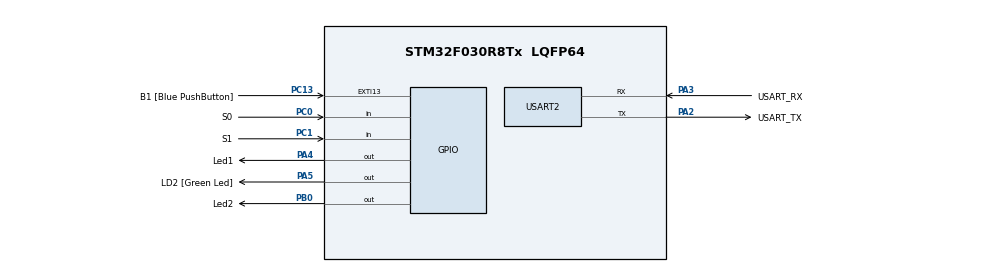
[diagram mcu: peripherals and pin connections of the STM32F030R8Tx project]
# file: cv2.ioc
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Mcu.Family=STM32F0
Mcu.Name=STM32F030R8Tx
Mcu.Package=LQFP64
PA13.GPIO_Label=TMS
PA13.Mode=Serial_Wire
PA13.Signal=SYS_SWDIO
PA14.GPIO_Label=TCK
PA14.Mode=Serial_Wire
PA14.Signal=SYS_SWCLK
PA2.GPIO_Label=USART_TX
PA2.GPIO_Mode=GPIO_MODE_AF_PP
PA2.GPIO_PuPd=GPIO_NOPULL
PA2.GPIO_Speed=GPIO_SPEED_FREQ_LOW
PA2.Mode=Asynchronous
PA2.Signal=USART2_TX
PA3.GPIO_Label=USART_RX
PA3.GPIO_Mode=GPIO_MODE_AF_PP
PA3.GPIO_PuPd=GPIO_NOPULL
PA3.GPIO_Speed=GPIO_SPEED_FREQ_LOW
PA3.Mode=Asynchronous
PA3.Signal=USART2_RX
PA4.GPIO_Label=Led1
PA4.Signal=GPIO_Output
PA5.GPIO_Label=LD2 [Green Led]
PA5.GPIO_Mode=GPIO_MODE_OUTPUT_PP
PA5.GPIO_PuPd=GPIO_NOPULL
PA5.GPIO_Speed=GPIO_SPEED_FREQ_LOW
PA5.Signal=GPIO_Output
PB0.GPIO_Label=Led2
PB0.Signal=GPIO_Output
PC0.GPIO_Label=S0
PC0.GPIO_PuPd=GPIO_PULLUP
PC0.Signal=GPIO_Input
PC1.GPIO_Label=S1
PC1.GPIO_PuPd=GPIO_PULLUP
PC1.Signal=GPIO_Input
PC13.GPIO_Label=B1 [Blue PushButton]
PC13.GPIO_ModeDefaultEXTI=GPIO_MODE_IT_FALLING
PC13.Signal=GPXTI13
PC14-OSC32_IN.Mode=LSE-External-Oscillator
PC14-OSC32_IN.Signal=RCC_OSC32_IN
PC15-OSC32_OUT.Mode=LSE-External-Oscillator
PC15-OSC32_OUT.Signal=RCC_OSC32_OUT
PF0-OSC_IN.Mode=HSE-External-Clock-Source
PF0-OSC_IN.Signal=RCC_OSC_IN
PF1-OSC_OUT.Signal=RCC_OSC_OUT
ProjectManager.HeapSize=0x200
ProjectManager.StackSize=0x400
ProjectManager.TargetToolchain=STM32CubeIDE
RCC.AHBFreq_Value=48000000
RCC.APB1Freq_Value=48000000
RCC.APB1TimFreq_Value=48000000
RCC.HCLKFreq_Value=48000000
RCC.PLLMUL=RCC_PLL_MUL12
RCC.SYSCLKFreq_VALUE=48000000
RCC.SYSCLKSource=RCC_SYSCLKSOURCE_PLLCLK
USART2.VirtualMode-Asynchronous=VM_ASYNC
board=NUCLEO-F030R8

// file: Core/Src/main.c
/* USER CODE BEGIN Header */
/**
  ******************************************************************************
  * @file           : main.c
  * @brief          : Main program body
  ******************************************************************************
  * @attention
  *
  * Copyright (c) 2023 STMicroelectronics.
  * All rights reserved.
  *
  * This software is licensed under terms that can be found in the LICENSE file
  * in the root directory of this software component.
  * If no LICENSE file comes with this software, it is provided AS-IS.
  *
  ******************************************************************************
  */
/* USER CODE END Header */
#include "main.h"

/* USER CODE BEGIN PTD */
void blikac(void);
void tlacitka(void);
/* USER CODE END PTD */

/* USER CODE BEGIN PD */
#define LED_TIME_BLINK 300
#define LED_TIME_SHORT 100
#define LED_TIME_LONG 1000
#define SW_READ 40
#define SW_READ2 5

/* USER CODE END PD */

void SystemClock_Config(void);
static void MX_GPIO_Init(void);
static void MX_USART2_UART_Init(void);

/* USER CODE BEGIN 0 */
volatile uint32_t Tick;
/* USER CODE END 0 */

int main(void)
{

  /* MCU Configuration--------------------------------------------------------*/

  /* Reset of all peripherals, Initializes the Flash interface and the Systick. */
  LL_APB1_GRP2_EnableClock(LL_APB1_GRP2_PERIPH_SYSCFG);
  LL_APB1_GRP1_EnableClock(LL_APB1_GRP1_PERIPH_PWR);

  /* Configure the system clock */
  SystemClock_Config();

  /* Initialize all configured peripherals */
  MX_GPIO_Init();
  MX_USART2_UART_Init();
  /* USER CODE BEGIN 2 */
  LL_SYSTICK_EnableIT();
  /* USER CODE END 2 */

  /* Infinite loop */
  /* USER CODE BEGIN WHILE */
  while (1)
  {
	  blikac();
	  tlacitka();
    /* USER CODE END WHILE */

  }
}

void SystemClock_Config(void)
{
  LL_FLASH_SetLatency(LL_FLASH_LATENCY_1);
  while(LL_FLASH_GetLatency() != LL_FLASH_LATENCY_1)
  {
  }
  LL_RCC_HSI_Enable();

   /* Wait till HSI is ready */
  while(LL_RCC_HSI_IsReady() != 1)
  {

  }
  LL_RCC_HSI_SetCalibTrimming(16);
  LL_RCC_PLL_ConfigDomain_SYS(LL_RCC_PLLSOURCE_HSI_DIV_2, LL_RCC_PLL_MUL_12);
  LL_RCC_PLL_Enable();

   /* Wait till PLL is ready */
  while(LL_RCC_PLL_IsReady() != 1)
  {

  }
  LL_RCC_SetAHBPrescaler(LL_RCC_SYSCLK_DIV_1);
  LL_RCC_SetAPB1Prescaler(LL_RCC_APB1_DIV_1);
  LL_RCC_SetSysClkSource(LL_RCC_SYS_CLKSOURCE_PLL);

   /* Wait till System clock is ready */
  while(LL_RCC_GetSysClkSource() != LL_RCC_SYS_CLKSOURCE_STATUS_PLL)
  {

  }
  LL_Init1msTick(48000000);
  LL_SetSystemCoreClock(48000000);
}

static void MX_USART2_UART_Init(void)
{

  LL_USART_InitTypeDef USART_InitStruct = {0};

  LL_GPIO_InitTypeDef GPIO_InitStruct = {0};

  /* Peripheral clock enable */
  LL_APB1_GRP1_EnableClock(LL_APB1_GRP1_PERIPH_USART2);

  LL_AHB1_GRP1_EnableClock(LL_AHB1_GRP1_PERIPH_GPIOA);
  /**USART2 GPIO Configuration
  PA2   ------> USART2_TX
  PA3   ------> USART2_RX
  */
  GPIO_InitStruct.Pin = USART_TX_Pin;
  GPIO_InitStruct.Mode = LL_GPIO_MODE_ALTERNATE;
  GPIO_InitStruct.Speed = LL_GPIO_SPEED_FREQ_LOW;
  GPIO_InitStruct.OutputType = LL_GPIO_OUTPUT_PUSHPULL;
  GPIO_InitStruct.Pull = LL_GPIO_PULL_NO;
  GPIO_InitStruct.Alternate = LL_GPIO_AF_1;
  LL_GPIO_Init(USART_TX_GPIO_Port, &GPIO_InitStruct);

  GPIO_InitStruct.Pin = USART_RX_Pin;
  GPIO_InitStruct.Mode = LL_GPIO_MODE_ALTERNATE;
  GPIO_InitStruct.Speed = LL_GPIO_SPEED_FREQ_LOW;
  GPIO_InitStruct.OutputType = LL_GPIO_OUTPUT_PUSHPULL;
  GPIO_InitStruct.Pull = LL_GPIO_PULL_NO;
  GPIO_InitStruct.Alternate = LL_GPIO_AF_1;
  LL_GPIO_Init(USART_RX_GPIO_Port, &GPIO_InitStruct);

  USART_InitStruct.BaudRate = 38400;
  USART_InitStruct.DataWidth = LL_USART_DATAWIDTH_8B;
  USART_InitStruct.StopBits = LL_USART_STOPBITS_1;
  USART_InitStruct.Parity = LL_USART_PARITY_NONE;
  USART_InitStruct.TransferDirection = LL_USART_DIRECTION_TX_RX;
  USART_InitStruct.HardwareFlowControl = LL_USART_HWCONTROL_NONE;
  USART_InitStruct.OverSampling = LL_USART_OVERSAMPLING_16;
  LL_USART_Init(USART2, &USART_InitStruct);
  LL_USART_DisableIT_CTS(USART2);
  LL_USART_ConfigAsyncMode(USART2);
  LL_USART_Enable(USART2);

}

static void MX_GPIO_Init(void)
{
  LL_EXTI_InitTypeDef EXTI_InitStruct = {0};
  LL_GPIO_InitTypeDef GPIO_InitStruct = {0};

  /* GPIO Ports Clock Enable */
  LL_AHB1_GRP1_EnableClock(LL_AHB1_GRP1_PERIPH_GPIOC);
  LL_AHB1_GRP1_EnableClock(LL_AHB1_GRP1_PERIPH_GPIOF);
  LL_AHB1_GRP1_EnableClock(LL_AHB1_GRP1_PERIPH_GPIOA);
  LL_AHB1_GRP1_EnableClock(LL_AHB1_GRP1_PERIPH_GPIOB);

  /**/
  LL_GPIO_ResetOutputPin(Led1_GPIO_Port, Led1_Pin);

  /**/
  LL_GPIO_ResetOutputPin(LD2_GPIO_Port, LD2_Pin);

  /**/
  LL_GPIO_ResetOutputPin(Led2_GPIO_Port, Led2_Pin);

  /**/
  LL_SYSCFG_SetEXTISource(LL_SYSCFG_EXTI_PORTC, LL_SYSCFG_EXTI_LINE13);

  /**/
  LL_GPIO_SetPinPull(B1_GPIO_Port, B1_Pin, LL_GPIO_PULL_NO);

  /**/
  LL_GPIO_SetPinMode(B1_GPIO_Port, B1_Pin, LL_GPIO_MODE_INPUT);

  /**/
  EXTI_InitStruct.Line_0_31 = LL_EXTI_LINE_13;
  EXTI_InitStruct.LineCommand = ENABLE;
  EXTI_InitStruct.Mode = LL_EXTI_MODE_IT;
  EXTI_InitStruct.Trigger = LL_EXTI_TRIGGER_FALLING;
  LL_EXTI_Init(&EXTI_InitStruct);

  /**/
  GPIO_InitStruct.Pin = S0_Pin;
  GPIO_InitStruct.Mode = LL_GPIO_MODE_INPUT;
  GPIO_InitStruct.Pull = LL_GPIO_PULL_UP;
  LL_GPIO_Init(S0_GPIO_Port, &GPIO_InitStruct);

  /**/
  GPIO_InitStruct.Pin = S1_Pin;
  GPIO_InitStruct.Mode = LL_GPIO_MODE_INPUT;
  GPIO_InitStruct.Pull = LL_GPIO_PULL_UP;
  LL_GPIO_Init(S1_GPIO_Port, &GPIO_InitStruct);

  /**/
  GPIO_InitStruct.Pin = Led1_Pin;
  GPIO_InitStruct.Mode = LL_GPIO_MODE_OUTPUT;
  GPIO_InitStruct.Speed = LL_GPIO_SPEED_FREQ_LOW;
  GPIO_InitStruct.OutputType = LL_GPIO_OUTPUT_PUSHPULL;
  GPIO_InitStruct.Pull = LL_GPIO_PULL_NO;
  LL_GPIO_Init(Led1_GPIO_Port, &GPIO_InitStruct);

  /**/
  GPIO_InitStruct.Pin = LD2_Pin;
  GPIO_InitStruct.Mode = LL_GPIO_MODE_OUTPUT;
  GPIO_InitStruct.Speed = LL_GPIO_SPEED_FREQ_LOW;
  GPIO_InitStruct.OutputType = LL_GPIO_OUTPUT_PUSHPULL;
  GPIO_InitStruct.Pull = LL_GPIO_PULL_NO;
  LL_GPIO_Init(LD2_GPIO_Port, &GPIO_InitStruct);

  /**/
  GPIO_InitStruct.Pin = Led2_Pin;
  GPIO_InitStruct.Mode = LL_GPIO_MODE_OUTPUT;
  GPIO_InitStruct.Speed = LL_GPIO_SPEED_FREQ_LOW;
  GPIO_InitStruct.OutputType = LL_GPIO_OUTPUT_PUSHPULL;
  GPIO_InitStruct.Pull = LL_GPIO_PULL_NO;
  LL_GPIO_Init(Led2_GPIO_Port, &GPIO_InitStruct);

}

/* USER CODE BEGIN 4 */
void blikac(void)
{
	static uint32_t delay;
	if (Tick > delay + LED_TIME_BLINK)
	{
		LL_GPIO_TogglePin(Led1_GPIO_Port,Led1_Pin);
		delay = Tick;
	}
}

void tlacitka(void)
{
	static uint32_t off_time, wait=0;
	static uint16_t debounce1 = 0xFFFF, debounce2 = 0xFFFF;

	if(Tick > wait + SW_READ2)
	{
		debounce1 <<= 1;
		debounce2 <<= 1;
		if(LL_GPIO_IsInputPinSet(S1_GPIO_Port, S1_Pin)==0)
		{
			debounce1|=0x0001;
		}
		if(LL_GPIO_IsInputPinSet(S0_GPIO_Port, S0_Pin)==0)
		{
			debounce2|=0x0001;
		}
		if(debounce1 == 0x7FFF)
		{
			off_time=Tick + LED_TIME_SHORT;
			LL_GPIO_SetOutputPin(Led2_GPIO_Port,Led2_Pin);
		}
		if(debounce2 == 0x7FFF)
		{
			off_time=Tick + LED_TIME_LONG;
			LL_GPIO_SetOutputPin(Led2_GPIO_Port,Led2_Pin);
		}

		wait=Tick;
		if(Tick > off_time)
		{
			LL_GPIO_ResetOutputPin(Led2_GPIO_Port,Led2_Pin);
		}

	}
}
/* USER CODE END 4 */

void Error_Handler(void)
{
  __disable_irq();
  while (1)
  {
  }
}
